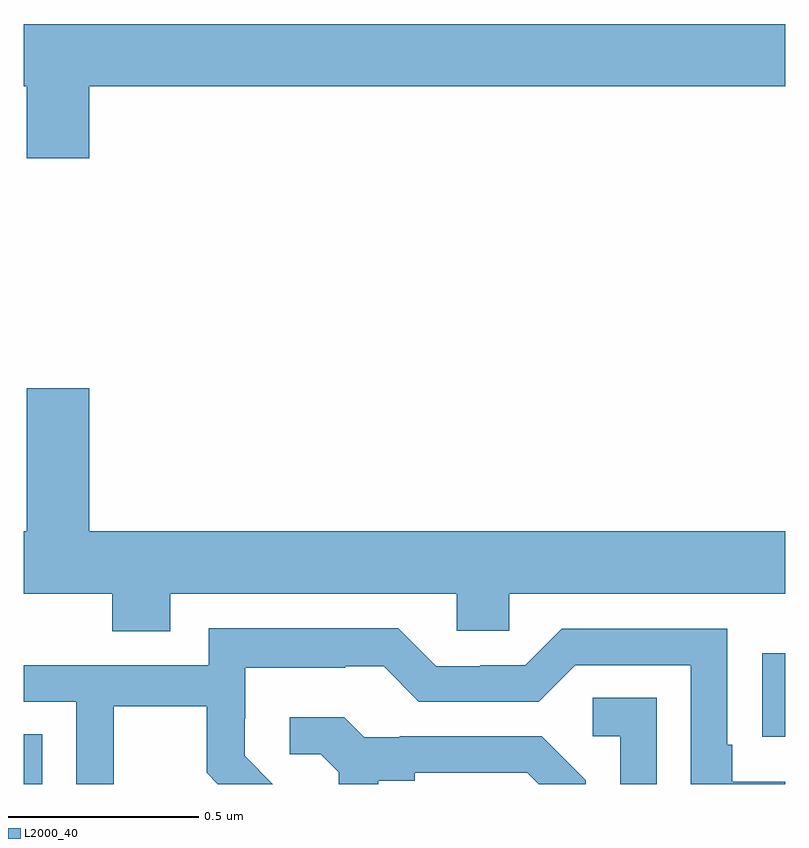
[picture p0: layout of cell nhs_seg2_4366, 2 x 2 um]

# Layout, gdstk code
import gdstk
lib = gdstk.Library(unit=1e-6, precision=1e-09)
def R(c, l, rs):  # rectangles x0, y0, x1, y1
    for r in rs: c.add(gdstk.rectangle(r[:2], r[2:], *l))
def P(c, l, *ps):  # polygons
    for p in ps: c.add(gdstk.Polygon(p, *l))
L2000_40 = (2000, 40)

nhs_seg2_4366 = lib.new_cell('nhs_seg2_4366')
R(nhs_seg2_4366, L2000_40, [(165,649.8,165.049,649.931), (166.939,649.924,167,650.143)])
P(nhs_seg2_4366, L2000_40, [(165.172,651.632),(167,651.632),(167,651.796),(165,651.796),(165,651.632),(165.008,651.632),(165.008,651.444),(165.172,651.444)],
  [(165.385,650.3),(166.137,650.3),(166.137,650.202),(166.275,650.202),(166.275,650.3),(167,650.3),(167,650.464),(165.172,650.464),(165.172,650.839),(165.008,650.839),(165.008,650.464),(165,650.464),(165,650.3),(165.233,650.3),(165.233,650.201),(165.385,650.201)],
  [(165.237,650.004),(165.481,650.004),(165.481,649.829),(165.51,649.8),(165.654,649.8),(165.58,649.874),(165.58,649.971),(165.582,649.971),(165.582,650.105),(165.845,650.105),(165.845,650.109),(165.945,650.109),(166.038,650.016),(166.353,650.016),(166.449,650.112),(166.752,650.112),(166.752,649.8),(167,649.8),(167,649.806),(166.861,649.806),(166.861,649.903),(166.848,649.903),(166.848,650.208),(166.413,650.208),(166.317,650.112),(166.199,650.112),(166.199,650.109),(166.083,650.109),(165.983,650.209),(165.486,650.209),(165.486,650.112),(165,650.112),(165,650.016),(165.138,650.016),(165.138,649.8),(165.237,649.8)],
  [(166.662,650.027),(166.494,650.027),(166.494,649.926),(166.566,649.926),(166.566,649.8),(166.662,649.8)],
  [(165.931,649.808),(166.027,649.808),(166.027,649.83),(166.322,649.83),(166.352,649.8),(166.476,649.8),(166.476,649.81),(166.36,649.926),(165.988,649.926),(165.988,649.923),(165.894,649.923),(165.842,649.975),(165.699,649.975),(165.699,649.878),(165.78,649.878),(165.827,649.831),(165.827,649.8),(165.931,649.8)])

lib.write_gds('nhs_seg2_4366.gds')
